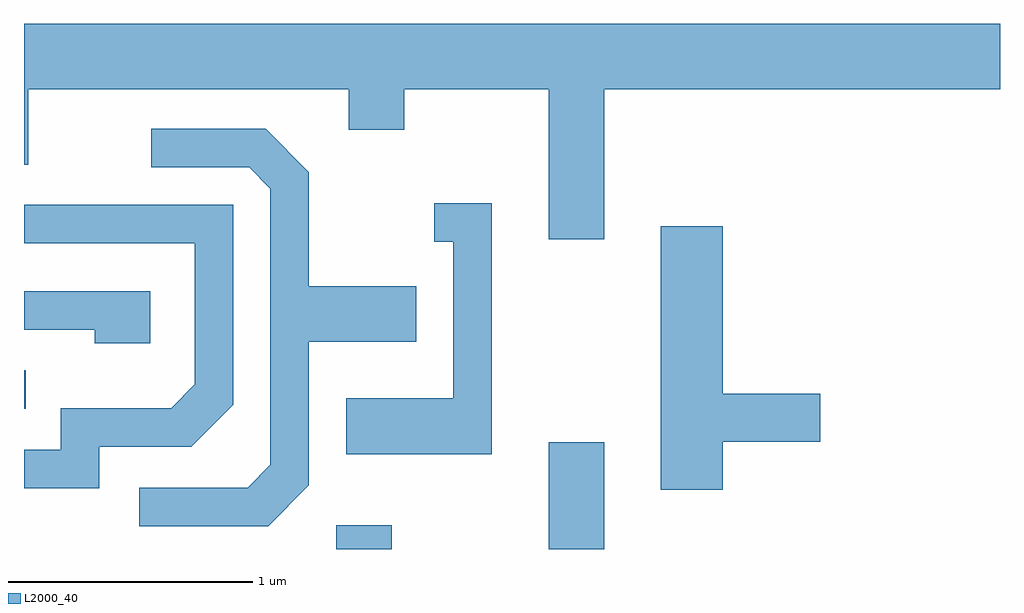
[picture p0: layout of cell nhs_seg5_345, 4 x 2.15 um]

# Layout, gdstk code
import gdstk
lib = gdstk.Library(unit=1e-6, precision=1e-09)
def R(c, l, rs):  # rectangles x0, y0, x1, y1
    for r in rs: c.add(gdstk.rectangle(r[:2], r[2:], *l))
def P(c, l, *ps):  # polygons
    for p in ps: c.add(gdstk.Polygon(p, *l))
L2000_40 = (2000, 40)

nhs_seg5_345 = lib.new_cell('nhs_seg5_345')
R(nhs_seg5_345, L2000_40, [(196.891,1406.072,197.119,1406.169), (197.761,1406.072,197.989,1406.509), (195.611,1406.646,195.618,1406.804)])
P(nhs_seg5_345, L2000_40, [(197.989,1407.956),(199.611,1407.956),(199.611,1408.224),(195.611,1408.224),(195.611,1407.646),(195.629,1407.646),(195.629,1407.956),(196.941,1407.956),(196.941,1407.791),(197.169,1407.791),(197.169,1407.956),(197.761,1407.956),(197.761,1407.341),(197.989,1407.341)],
  [(196.779,1406.334),(196.779,1406.921),(197.219,1406.921),(197.219,1407.149),(196.779,1407.149),(196.779,1407.617),(196.602,1407.794),(196.133,1407.794),(196.133,1407.636),(196.534,1407.636),(196.621,1407.549),(196.621,1406.417),(196.529,1406.324),(196.083,1406.324),(196.083,1406.166),(196.612,1406.166)],
  [(197.529,1407.489),(197.293,1407.489),(197.293,1407.331),(197.371,1407.331),(197.371,1406.689),(196.931,1406.689),(196.931,1406.461),(197.529,1406.461)],
  [(195.919,1406.491),(196.297,1406.491),(196.469,1406.664),(196.469,1407.484),(195.611,1407.484),(195.611,1407.326),(196.311,1407.326),(196.311,1406.747),(196.214,1406.649),(195.761,1406.649),(195.761,1406.479),(195.611,1406.479),(195.611,1406.321),(195.919,1406.321)],
  [(198.474,1406.511),(198.874,1406.511),(198.874,1406.709),(198.474,1406.709),(198.474,1407.394),(198.221,1407.394),(198.221,1406.316),(198.474,1406.316)],
  [(196.129,1407.129),(195.611,1407.129),(195.611,1406.971),(195.901,1406.971),(195.901,1406.916),(196.129,1406.916)])

lib.write_gds('nhs_seg5_345.gds')
